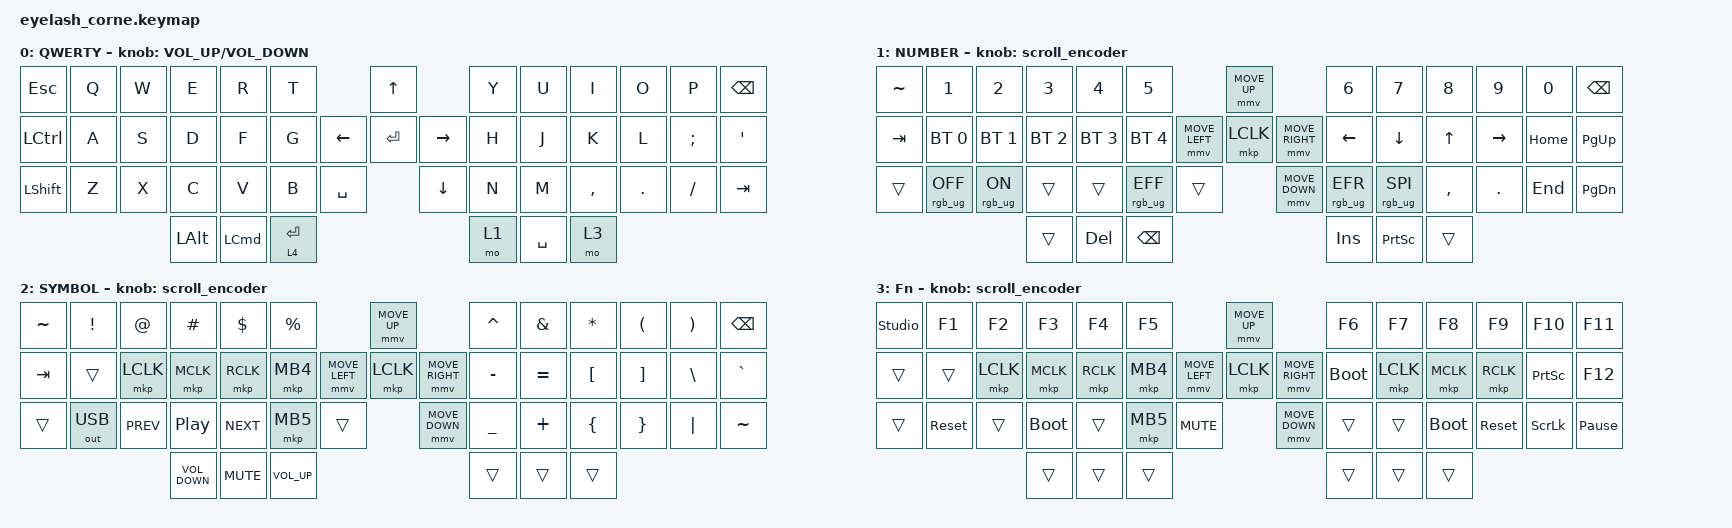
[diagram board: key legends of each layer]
#define ZMK_POINTING_DEFAULT_MOVE_VAL 1200  // 600
#define ZMK_POINTING_DEFAULT_SCRL_VAL 25   // 10

#include <input/processors.dtsi>
#include <zephyr/dt-bindings/input/input-event-codes.h>
#include <behaviors.dtsi>
#include <dt-bindings/zmk/bt.h>
#include <dt-bindings/zmk/keys.h>
#include <dt-bindings/zmk/outputs.h>
#include <dt-bindings/zmk/pointing.h>
#include <dt-bindings/zmk/rgb.h>

&mmv_input_listener { input-processors = <&zip_xy_scaler 2 1>; };

&msc_input_listener { input-processors = <&zip_scroll_scaler 2 1>; };

&msc {
    acceleration-exponent = <1>;      // 0
    time-to-max-speed-ms = <100>;       // 300
    delay-ms = <0>;                   // 0
};

&mmv {
    time-to-max-speed-ms = <500>;
    acceleration-exponent = <1>;
    trigger-period-ms = <16>;
};

&soft_off { hold-time-ms = <2000>; };

/ {
    behaviors {
        td0: td0 {
            compatible = "zmk,behavior-tap-dance";
            display-name = "Shift/Caps Lock Tap Dance";
            #binding-cells = <0>;
            bindings = <&kp LEFT_SHIFT>, <&kp CAPS>;
        };
    };

    rgb_encoder: rgb_encoder {
        compatible = "zmk,behavior-sensor-rotate";
        #sensor-binding-cells = <0>;
        bindings = <&rgb_ug RGB_BRI>, <&rgb_ug RGB_BRD>;
    };

    scroll_encoder: scroll_encoder {
        compatible = "zmk,behavior-sensor-rotate";
        #sensor-binding-cells = <0>;
        bindings = <&msc SCRL_DOWN>, <&msc SCRL_UP>;

        tap-ms = <100>;
    };

    combos {
        compatible = "zmk,combos";

        softoff {
            bindings = <&soft_off>;
            key-positions = <1 15 29>;
        };

        esc {
            bindings = <&kp ESCAPE>;
            key-positions = <17 23>;
        };
    };

    keymap {
        compatible = "zmk,keymap";

        default_layer {
            display-name = "QWERTY";
            bindings = <
&kp ESCAPE        &kp Q  &kp W  &kp E         &kp R             &kp T                               &kp UP                &kp Y  &kp U      &kp I      &kp O    &kp P     &kp BSPC
&kp LEFT_CONTROL  &kp A  &kp S  &kp D         &kp F             &kp G                     &kp LEFT  &kp ENTER  &kp RIGHT  &kp H  &kp J      &kp K      &kp L    &kp SEMI  &kp SQT
&kp LEFT_SHIFT    &kp Z  &kp X  &kp C         &kp V             &kp B        &kp SPACE              &kp DOWN              &kp N  &kp M      &kp COMMA  &kp DOT  &kp FSLH  &kp TAB
                                &kp LEFT_ALT  &kp LEFT_COMMAND  &lt 4 ENTER                                               &mo 1  &kp SPACE  &mo 3
            >;

            sensor-bindings = <&inc_dec_kp C_VOLUME_UP C_VOLUME_DOWN>;
        };

        lower_layer {
            display-name = "NUMBER";
            bindings = <
&kp TILDE  &kp N1           &kp N2          &kp N3        &kp N4        &kp N5                                     &mmv MOVE_UP                     &kp N6           &kp N7           &kp N8     &kp N9      &kp N0    &kp BACKSPACE
&kp TAB    &bt BT_SEL 0     &bt BT_SEL 1    &bt BT_SEL 2  &bt BT_SEL 3  &bt BT_SEL 4               &mmv MOVE_LEFT  &mkp LCLK       &mmv MOVE_RIGHT  &kp LEFT         &kp DOWN         &kp UP     &kp RIGHT   &kp HOME  &kp PG_UP
&trans     &rgb_ug RGB_OFF  &rgb_ug RGB_ON  &trans        &trans        &rgb_ug RGB_EFF  &trans                    &mmv MOVE_DOWN                   &rgb_ug RGB_EFR  &rgb_ug RGB_SPI  &kp COMMA  &kp PERIOD  &kp END   &kp PG_DN
                                            &trans        &kp DELETE    &kp BACKSPACE                                                               &kp INS          &kp PRINTSCREEN  &trans
            >;

            sensor-bindings = <&scroll_encoder>;
        };

        raise_layer {
            display-name = "SYMBOL";
            bindings = <
&kp TILDE  &kp EXCL      &kp AT      &kp HASH           &kp DLLR    &kp PRCNT                                  &mmv MOVE_UP                     &kp CARET  &kp AMPS   &kp ASTRK  &kp LPAR  &kp RPAR  &kp BSPC
&kp TAB    &trans        &mkp LCLK   &mkp MCLK          &mkp RCLK   &mkp MB4                   &mmv MOVE_LEFT  &mkp LCLK       &mmv MOVE_RIGHT  &kp MINUS  &kp EQUAL  &kp LBKT   &kp RBKT  &kp BSLH  &kp GRAVE
&trans     &out OUT_USB  &kp C_PREV  &kp C_PLAY_PAUSE   &kp C_NEXT  &mkp MB5         &trans                    &mmv MOVE_DOWN                   &kp UNDER  &kp PLUS   &kp LBRC   &kp RBRC  &kp PIPE  &kp TILDE
                                     &kp C_VOLUME_DOWN  &kp C_MUTE  &kp C_VOLUME_UP                                                             &trans     &trans     &trans
            >;

            sensor-bindings = <&scroll_encoder>;
        };

        layer_3 {
            display-name = "Fn";
            bindings = <
&studio_unlock  &kp F1      &kp F2     &kp F3       &kp F4     &kp F5                                  &mmv MOVE_UP                     &kp F6       &kp F7     &kp F8       &kp F9      &kp F10          &kp F11
&trans          &trans      &mkp LCLK  &mkp MCLK    &mkp RCLK  &mkp MB4                &mmv MOVE_LEFT  &mkp LCLK       &mmv MOVE_RIGHT  &bootloader  &mkp LCLK  &mkp MCLK    &mkp RCLK   &kp PRINTSCREEN  &kp F12
&trans          &sys_reset  &trans     &bootloader  &trans     &mkp MB5  &kp C_MUTE                    &mmv MOVE_DOWN                   &trans       &trans     &bootloader  &sys_reset  &kp SCROLLLOCK   &kp PAUSE_BREAK
                                       &trans       &trans     &trans                                                                   &trans       &trans     &trans
            >;

            sensor-bindings = <&scroll_encoder>;
        };
    };
};
